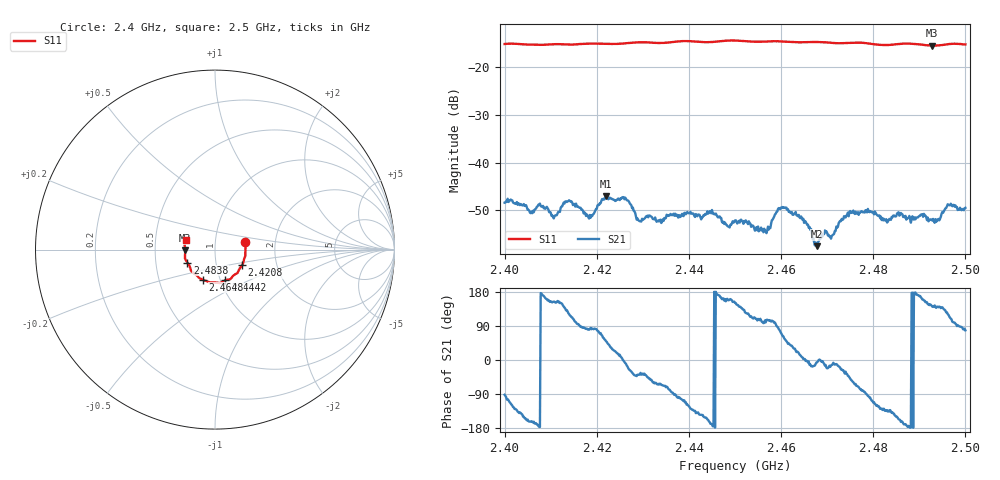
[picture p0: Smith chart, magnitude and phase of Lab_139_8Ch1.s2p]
# Hz S RI R 50
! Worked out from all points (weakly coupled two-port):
!   601 points, 2.4 GHz to 2.5 GHz, reference 50 ohm
!   highest |S21| = -47.04 dB at 2.422 GHz (marker M1); lowest = -57.5 dB at 2.4678 GHz (marker M2)
!   lowest |S11| = -15.6 dB at 2.4928 GHz (marker M3), VSWR 1.40, Z = 35.8 - j0.362 ohm
!   |S11| at or under -10 dB: start of sweep to end of sweep
!   S12 and S22 are empty: the file has one direction only
!   S11 on the Smith chart (normalised r, x): 2.4 GHz: 1.40, +0.12; 2.4208 GHz: 1.33, -0.24; 2.4442 GHz: 1.05, -0.37; 2.4648 GHz: 0.83, -0.29; 2.4838 GHz: 0.73, -0.11; 2.5 GHz: 0.72, +0.08
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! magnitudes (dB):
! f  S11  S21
! 2.4 GHz  -15.3  -48.4
! 2.4107 GHz  -15.3  -51.7
! 2.4137 GHz  -15.3  -48.1
! 2.4167 GHz  -15.2  -49.9
! 2.4187 GHz  -15.2  -51.5
! 2.4208 GHz  -15.2  -48.5
! 2.422 GHz  -15.2  -47.0
! 2.4292 GHz  -14.9  -52.2
! 2.4333 GHz  -15.0  -52.1
! 2.4442 GHz  -14.9  -50.7
! 2.45 GHz  -14.5  -52.1
! 2.4565 GHz  -14.8  -54.2
! 2.4605 GHz  -14.7  -49.5
! 2.4648 GHz  -14.9  -51.7
! 2.4667 GHz  -14.8  -54.6
! 2.4678 GHz  -14.8  -57.5
! 2.4753 GHz  -15.0  -50.3
! 2.4833 GHz  -15.5  -52.0
! 2.4838 GHz  -15.4  -52.0
! 2.4928 GHz  -15.6  -52.1
! 2.4965 GHz  -15.3  -48.9
! 2.5 GHz  -15.3  -49.5
